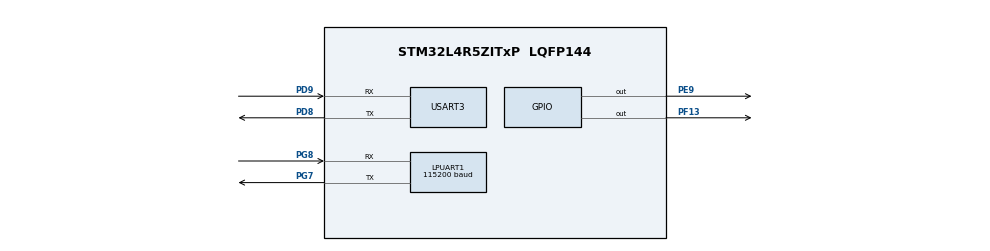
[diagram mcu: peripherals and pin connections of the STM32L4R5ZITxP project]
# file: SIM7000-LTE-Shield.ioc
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LPUART1.BaudRate=115200
LPUART1.WordLength=UART_WORDLENGTH_8B
Mcu.Family=STM32L4
Mcu.Name=STM32L4R5ZITxP
Mcu.Package=LQFP144
NVIC.PriorityGroup=NVIC_PRIORITYGROUP_4
PA0.Signal=S_TIM2_CH1
PA1.Signal=ADCx_IN6
PA10.Signal=USB_OTG_FS_ID
PA13\ (JTMS/SWDIO).Signal=SYS_JTMS-SWDIO
PA14\ (JTCK/SWCLK).Signal=SYS_JTCK-SWCLK
PA3.Signal=ADCx_IN8
PA4.Signal=SPI1_NSS
PA5.Signal=SPI1_SCK
PA6.Signal=SPI1_MISO
PA7.Signal=SPI1_MOSI
PA8.Signal=USB_OTG_FS_SOF
PA9.Signal=USB_OTG_FS_VBUS
PB0.Signal=S_TIM3_CH3
PB1.Signal=ADCx_IN16
PB12.Signal=SAI2_FS_A
PB13.Signal=SAI2_SCK_A
PB14.Signal=S_TIM15_CH1
PB15.Signal=SAI2_SD_A
PB2.Signal=COMP1_INP
PB3\ (JTDO/TRACESWO).Signal=SPI3_SCK
PB4\ (NJTRST).Signal=SPI3_MISO
PB5.Signal=SPI3_MOSI
PB6.Signal=COMP2_INP
PB8.Signal=I2C1_SCL
PB9.Signal=I2C1_SDA
PC0.Signal=ADCx_IN1
PC1.Signal=ADCx_IN2
PC10.Signal=UART4_TX
PC11.Signal=UART4_RX
PC12.Signal=SDMMC1_CK
PC13.Signal=SYS_WKUP2
PC14-OSC32_IN\ (PC14).Signal=RCC_OSC32_IN
PC15-OSC32_OUT\ (PC15).Signal=RCC_OSC32_OUT
PC2.Signal=ADCx_IN3
PC3.Signal=ADCx_IN4
PC4.Signal=ADCx_IN13
PC6.Signal=SAI2_MCLK_A
PC7.Signal=S_TIM3_CH2
PC8.Signal=SDMMC1_D0
PC9.Signal=SDMMC1_D1
PD0.Signal=CAN1_RX
PD2.Signal=SDMMC1_CMD
PD3.Signal=USART2_CTS
PD4.Signal=USART2_RTS
PD5.Signal=USART2_TX
PD6.Signal=USART2_RX
PD8.Mode=Asynchronous
PD8.Signal=USART3_TX
PD9.Mode=Asynchronous
PD9.Signal=USART3_RX
PE0.Signal=S_TIM4_ETR
PE10.Signal=TIM1_CH2N
PE11.Signal=S_TIM1_CH2
PE12.Signal=TIM1_CH3N
PE13.Signal=S_TIM1_CH3
PE14.Signal=TIM1_BKIN2
PE15.Signal=TIM1_BKIN
PE2.Signal=SAI1_MCLK_A
PE3.Signal=SAI1_SD_B
PE7.Signal=S_TIM1_ETR
PE8.Signal=TIM1_CH1N
PE9.Signal=GPIO_Output
PF0.Signal=I2C2_SDA
PF1.Signal=I2C2_SCL
PF13.Signal=GPIO_Output
PF2.Signal=I2C2_SMBA
PF7.Signal=SAI1_MCLK_B
PG7.Mode=Asynchronous
PG7.Signal=LPUART1_TX
PG8.Mode=Asynchronous
PG8.Signal=LPUART1_RX
PH0-OSC_IN\ (PH0).Signal=RCC_OSC_IN
PH1-OSC_OUT\ (PH1).Signal=RCC_OSC_OUT
ProjectManager.HeapSize=0x200
ProjectManager.StackSize=0x400
ProjectManager.TargetToolchain=STM32CubeIDE
RCC.HSE_VALUE=8000000
RCC.HSI48_VALUE=48000000
RCC.HSI_VALUE=16000000
RCC.LSE_VALUE=32768
RCC.MSI_VALUE=4000000
RCC.VCOOutputFreq_Value=32000000
SH.ADCx_IN1.0=ADC1_IN1
SH.ADCx_IN13.0=ADC1_IN13
SH.ADCx_IN16.0=ADC1_IN16
SH.ADCx_IN2.0=ADC1_IN2
SH.ADCx_IN3.0=ADC1_IN3
SH.ADCx_IN4.0=ADC1_IN4
SH.ADCx_IN6.0=ADC1_IN6
SH.ADCx_IN8.0=ADC1_IN8
SH.S_TIM15_CH1.0=TIM15_CH1
SH.S_TIM1_CH2.0=TIM1_CH2
SH.S_TIM1_CH3.0=TIM1_CH3
SH.S_TIM1_ETR.0=TIM1_ETR
SH.S_TIM2_CH1.0=TIM2_CH1
SH.S_TIM3_CH2.0=TIM3_CH2
SH.S_TIM3_CH3.0=TIM3_CH3
SH.S_TIM4_ETR.0=TIM4_ETR
USART3.FIFOMode=FIFOMODE_ENABLE
USART3.OverrunDisableParam=ADVFEATURE_OVERRUN_DISABLE
USART3.RXFIFOThreshold=RXFIFO_THRESHOLD_7EIGHTHFULL
USART3.TXFIFOThreshold=TXFIFO_THRESHOLD_7EIGHTHFULL
USART3.VirtualMode-Asynchronous=VM_ASYNC
board=NUCLEO-L4R5ZI-P

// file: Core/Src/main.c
/* USER CODE BEGIN Header */
/**
  ******************************************************************************
  * @file           : main.c
  * @brief          : Main program body
  ******************************************************************************
  * @attention
  *
  * Copyright (c) 2022 STMicroelectronics.
  * All rights reserved.
  *
  * This software is licensed under terms that can be found in the LICENSE file
  * in the root directory of this software component.
  * If no LICENSE file comes with this software, it is provided AS-IS.
  *
  ******************************************************************************
  */
/* USER CODE END Header */
#include "main.h"

/* USER CODE BEGIN Includes */
#include "HAL_FONA.h"
#include <stdlib.h>
#include <stdio.h>

extern char const * const ok_reply_c;
extern const int reply_buff_size_c;
extern const int fona_def_timeout_ms_c;

extern const HAL_GPIO_t rst_pin; // PF13
extern const HAL_GPIO_t pwr_pin; // PE09

/* USER CODE END Includes */

UART_HandleTypeDef hlpuart1;
UART_HandleTypeDef huart3;

void SystemClock_Config(void);
static void MX_GPIO_Init(void);
static void MX_LPUART1_UART_Init(void);
static void MX_USART3_UART_Init(void);
/* USER CODE BEGIN PFP */

void power_on_cell(  );
void reset_cell( );

/* USER CODE END PFP */

/* USER CODE BEGIN 0 */

void power_on_cell( )
    {
    printf( "Powering On Cell\n\r" );
    GPIO_Write( &pwr_pin, GPIO_PIN_RESET );
	  HAL_Delay( 1100 ); // At least 1s
    GPIO_Write( &pwr_pin, GPIO_PIN_SET );
    } // end power_on( )

void reset_cell( )
    {
    printf( "Resetting Cell\n\r" );
    GPIO_Write( &rst_pin, GPIO_PIN_RESET );
    HAL_Delay( 100 ); // At least 1s
    GPIO_Write( &rst_pin, GPIO_PIN_SET );
    } // reset_cell( )

/* USER CODE END 0 */

int main(void)
{
  /* USER CODE BEGIN 1 */
  Cellular_module_t cell;

  /* USER CODE END 1 */

  /* MCU Configuration--------------------------------------------------------*/

  /* Reset of all peripherals, Initializes the Flash interface and the Systick. */
  HAL_Init();

  /* USER CODE BEGIN Init */
  printf( "FONA basic test\n\r" );
  printf( "Initializing....(May take several seconds)\n\r");

  cell.uart_ptr = &huart3;

  /* USER CODE END Init */

  /* Configure the system clock */
  SystemClock_Config();

  /* Initialize all configured peripherals */
  MX_GPIO_Init();
  MX_LPUART1_UART_Init();
  MX_USART3_UART_Init();
  /* USER CODE BEGIN 2 */

  power_on_cell( );
  reset_cell( );
  if ( !begin( &cell ) )
    {
    printf( "Failed initialization\n\r" );
    return 1;
    }
  else
    {
    printf( "Found SIM7000 using hardware serial\n\r" );
    }

  if ( !setNetworkSettings( &cell ) )
      {
      printf( "Network settings NOT set\n\r" );
      return 1;
      }
    else
      {
      printf( "Network settings set\n\r" );
      }

  if ( !sendSMS( &cell ) )
        {
        printf( "SMS failed\n\r" );
        return 1;
      }
      else
        {
        printf( "SMS Worked\n\r" );
        }

  /* USER CODE END 2 */

  /* Infinite loop */
  while (1)
    {
    printf( "Looping weehee\n\r" );
    HAL_Delay( 1000 );
    /* USER CODE BEGIN 3 */
    } // end while
  /* USER CODE END 3 */
}

void SystemClock_Config(void)
{
  RCC_OscInitTypeDef RCC_OscInitStruct = {0};
  RCC_ClkInitTypeDef RCC_ClkInitStruct = {0};

  /** Configure the main internal regulator output voltage
  */
  if (HAL_PWREx_ControlVoltageScaling(PWR_REGULATOR_VOLTAGE_SCALE1) != HAL_OK)
  {
    Error_Handler();
  }
  /** Initializes the RCC Oscillators according to the specified parameters
  * in the RCC_OscInitTypeDef structure.
  */
  RCC_OscInitStruct.OscillatorType = RCC_OSCILLATORTYPE_MSI;
  RCC_OscInitStruct.MSIState = RCC_MSI_ON;
  RCC_OscInitStruct.MSICalibrationValue = 0;
  RCC_OscInitStruct.MSIClockRange = RCC_MSIRANGE_6;
  RCC_OscInitStruct.PLL.PLLState = RCC_PLL_NONE;
  if (HAL_RCC_OscConfig(&RCC_OscInitStruct) != HAL_OK)
  {
    Error_Handler();
  }
  /** Initializes the CPU, AHB and APB buses clocks
  */
  RCC_ClkInitStruct.ClockType = RCC_CLOCKTYPE_HCLK|RCC_CLOCKTYPE_SYSCLK
                              |RCC_CLOCKTYPE_PCLK1|RCC_CLOCKTYPE_PCLK2;
  RCC_ClkInitStruct.SYSCLKSource = RCC_SYSCLKSOURCE_MSI;
  RCC_ClkInitStruct.AHBCLKDivider = RCC_SYSCLK_DIV1;
  RCC_ClkInitStruct.APB1CLKDivider = RCC_HCLK_DIV1;
  RCC_ClkInitStruct.APB2CLKDivider = RCC_HCLK_DIV1;

  if (HAL_RCC_ClockConfig(&RCC_ClkInitStruct, FLASH_LATENCY_0) != HAL_OK)
  {
    Error_Handler();
  }
}

static void MX_LPUART1_UART_Init(void)
{

  hlpuart1.Instance = LPUART1;
  hlpuart1.Init.BaudRate = 115200;
  hlpuart1.Init.WordLength = UART_WORDLENGTH_8B;
  hlpuart1.Init.StopBits = UART_STOPBITS_1;
  hlpuart1.Init.Parity = UART_PARITY_NONE;
  hlpuart1.Init.Mode = UART_MODE_TX_RX;
  hlpuart1.Init.HwFlowCtl = UART_HWCONTROL_NONE;
  hlpuart1.Init.OneBitSampling = UART_ONE_BIT_SAMPLE_DISABLE;
  hlpuart1.Init.ClockPrescaler = UART_PRESCALER_DIV1;
  hlpuart1.AdvancedInit.AdvFeatureInit = UART_ADVFEATURE_NO_INIT;
  hlpuart1.FifoMode = UART_FIFOMODE_DISABLE;
  if (HAL_UART_Init(&hlpuart1) != HAL_OK)
  {
    Error_Handler();
  }
  if (HAL_UARTEx_SetTxFifoThreshold(&hlpuart1, UART_TXFIFO_THRESHOLD_1_8) != HAL_OK)
  {
    Error_Handler();
  }
  if (HAL_UARTEx_SetRxFifoThreshold(&hlpuart1, UART_RXFIFO_THRESHOLD_1_8) != HAL_OK)
  {
    Error_Handler();
  }
  if (HAL_UARTEx_DisableFifoMode(&hlpuart1) != HAL_OK)
  {
    Error_Handler();
  }

}

static void MX_USART3_UART_Init(void)
{

  huart3.Instance = USART3;
  huart3.Init.BaudRate = 115200;
  huart3.Init.WordLength = UART_WORDLENGTH_8B;
  huart3.Init.StopBits = UART_STOPBITS_1;
  huart3.Init.Parity = UART_PARITY_NONE;
  huart3.Init.Mode = UART_MODE_TX_RX;
  huart3.Init.HwFlowCtl = UART_HWCONTROL_NONE;
  huart3.Init.OverSampling = UART_OVERSAMPLING_16;
  huart3.Init.OneBitSampling = UART_ONE_BIT_SAMPLE_DISABLE;
  huart3.Init.ClockPrescaler = UART_PRESCALER_DIV1;
  huart3.AdvancedInit.AdvFeatureInit = UART_ADVFEATURE_RXOVERRUNDISABLE_INIT;
  huart3.AdvancedInit.OverrunDisable = UART_ADVFEATURE_OVERRUN_DISABLE;
  if (HAL_UART_Init(&huart3) != HAL_OK)
  {
    Error_Handler();
  }
  if (HAL_UARTEx_SetTxFifoThreshold(&huart3, UART_TXFIFO_THRESHOLD_7_8) != HAL_OK)
  {
    Error_Handler();
  }
  if (HAL_UARTEx_SetRxFifoThreshold(&huart3, UART_RXFIFO_THRESHOLD_7_8) != HAL_OK)
  {
    Error_Handler();
  }
  if (HAL_UARTEx_EnableFifoMode(&huart3) != HAL_OK)
  {
    Error_Handler();
  }

}

static void MX_GPIO_Init(void)
{
  GPIO_InitTypeDef GPIO_InitStruct = {0};

  /* GPIO Ports Clock Enable */
  __HAL_RCC_GPIOE_CLK_ENABLE();
  __HAL_RCC_GPIOC_CLK_ENABLE();
  __HAL_RCC_GPIOF_CLK_ENABLE();
  __HAL_RCC_GPIOH_CLK_ENABLE();
  __HAL_RCC_GPIOA_CLK_ENABLE();
  __HAL_RCC_GPIOB_CLK_ENABLE();
  __HAL_RCC_GPIOD_CLK_ENABLE();
  __HAL_RCC_GPIOG_CLK_ENABLE();
  HAL_PWREx_EnableVddIO2();

  /*Configure GPIO pin Output Level */
  HAL_GPIO_WritePin(GPIOF, GPIO_PIN_13, GPIO_PIN_RESET);

  /*Configure GPIO pin Output Level */
  HAL_GPIO_WritePin(GPIOE, GPIO_PIN_9, GPIO_PIN_RESET);

  /*Configure GPIO pins : PE2 PE3 */
  GPIO_InitStruct.Pin = GPIO_PIN_2|GPIO_PIN_3;
  GPIO_InitStruct.Mode = GPIO_MODE_AF_PP;
  GPIO_InitStruct.Pull = GPIO_NOPULL;
  GPIO_InitStruct.Speed = GPIO_SPEED_FREQ_LOW;
  GPIO_InitStruct.Alternate = GPIO_AF13_SAI1;
  HAL_GPIO_Init(GPIOE, &GPIO_InitStruct);

  /*Configure GPIO pins : PF0 PF1 PF2 */
  GPIO_InitStruct.Pin = GPIO_PIN_0|GPIO_PIN_1|GPIO_PIN_2;
  GPIO_InitStruct.Mode = GPIO_MODE_AF_OD;
  GPIO_InitStruct.Pull = GPIO_NOPULL;
  GPIO_InitStruct.Speed = GPIO_SPEED_FREQ_VERY_HIGH;
  GPIO_InitStruct.Alternate = GPIO_AF4_I2C2;
  HAL_GPIO_Init(GPIOF, &GPIO_InitStruct);

  /*Configure GPIO pin : PF7 */
  GPIO_InitStruct.Pin = GPIO_PIN_7;
  GPIO_InitStruct.Mode = GPIO_MODE_AF_PP;
  GPIO_InitStruct.Pull = GPIO_NOPULL;
  GPIO_InitStruct.Speed = GPIO_SPEED_FREQ_LOW;
  GPIO_InitStruct.Alternate = GPIO_AF13_SAI1;
  HAL_GPIO_Init(GPIOF, &GPIO_InitStruct);

  /*Configure GPIO pins : PC0 PC1 PC2 PC3
                           PC4 */
  GPIO_InitStruct.Pin = GPIO_PIN_0|GPIO_PIN_1|GPIO_PIN_2|GPIO_PIN_3
                          |GPIO_PIN_4;
  GPIO_InitStruct.Mode = GPIO_MODE_ANALOG_ADC_CONTROL;
  GPIO_InitStruct.Pull = GPIO_NOPULL;
  HAL_GPIO_Init(GPIOC, &GPIO_InitStruct);

  /*Configure GPIO pin : PA0 */
  GPIO_InitStruct.Pin = GPIO_PIN_0;
  GPIO_InitStruct.Mode = GPIO_MODE_AF_PP;
  GPIO_InitStruct.Pull = GPIO_NOPULL;
  GPIO_InitStruct.Speed = GPIO_SPEED_FREQ_LOW;
  GPIO_InitStruct.Alternate = GPIO_AF1_TIM2;
  HAL_GPIO_Init(GPIOA, &GPIO_InitStruct);

  /*Configure GPIO pins : PA1 PA3 */
  GPIO_InitStruct.Pin = GPIO_PIN_1|GPIO_PIN_3;
  GPIO_InitStruct.Mode = GPIO_MODE_ANALOG_ADC_CONTROL;
  GPIO_InitStruct.Pull = GPIO_NOPULL;
  HAL_GPIO_Init(GPIOA, &GPIO_InitStruct);

  /*Configure GPIO pins : PA4 PA5 PA6 PA7 */
  GPIO_InitStruct.Pin = GPIO_PIN_4|GPIO_PIN_5|GPIO_PIN_6|GPIO_PIN_7;
  GPIO_InitStruct.Mode = GPIO_MODE_AF_PP;
  GPIO_InitStruct.Pull = GPIO_NOPULL;
  GPIO_InitStruct.Speed = GPIO_SPEED_FREQ_VERY_HIGH;
  GPIO_InitStruct.Alternate = GPIO_AF5_SPI1;
  HAL_GPIO_Init(GPIOA, &GPIO_InitStruct);

  /*Configure GPIO pin : PB0 */
  GPIO_InitStruct.Pin = GPIO_PIN_0;
  GPIO_InitStruct.Mode = GPIO_MODE_AF_PP;
  GPIO_InitStruct.Pull = GPIO_NOPULL;
  GPIO_InitStruct.Speed = GPIO_SPEED_FREQ_LOW;
  GPIO_InitStruct.Alternate = GPIO_AF2_TIM3;
  HAL_GPIO_Init(GPIOB, &GPIO_InitStruct);

  /*Configure GPIO pin : PB1 */
  GPIO_InitStruct.Pin = GPIO_PIN_1;
  GPIO_InitStruct.Mode = GPIO_MODE_ANALOG_ADC_CONTROL;
  GPIO_InitStruct.Pull = GPIO_NOPULL;
  HAL_GPIO_Init(GPIOB, &GPIO_InitStruct);

  /*Configure GPIO pins : PB2 PB6 */
  GPIO_InitStruct.Pin = GPIO_PIN_2|GPIO_PIN_6;
  GPIO_InitStruct.Mode = GPIO_MODE_ANALOG;
  GPIO_InitStruct.Pull = GPIO_NOPULL;
  HAL_GPIO_Init(GPIOB, &GPIO_InitStruct);

  /*Configure GPIO pin : PF13 */
  GPIO_InitStruct.Pin = GPIO_PIN_13;
  GPIO_InitStruct.Mode = GPIO_MODE_OUTPUT_PP;
  GPIO_InitStruct.Pull = GPIO_NOPULL;
  GPIO_InitStruct.Speed = GPIO_SPEED_FREQ_LOW;
  HAL_GPIO_Init(GPIOF, &GPIO_InitStruct);

  /*Configure GPIO pins : PE7 PE8 PE10 PE11
                           PE12 PE13 */
  GPIO_InitStruct.Pin = GPIO_PIN_7|GPIO_PIN_8|GPIO_PIN_10|GPIO_PIN_11
                          |GPIO_PIN_12|GPIO_PIN_13;
  GPIO_InitStruct.Mode = GPIO_MODE_AF_PP;
  GPIO_InitStruct.Pull = GPIO_NOPULL;
  GPIO_InitStruct.Speed = GPIO_SPEED_FREQ_LOW;
  GPIO_InitStruct.Alternate = GPIO_AF1_TIM1;
  HAL_GPIO_Init(GPIOE, &GPIO_InitStruct);

  /*Configure GPIO pin : PE9 */
  GPIO_InitStruct.Pin = GPIO_PIN_9;
  GPIO_InitStruct.Mode = GPIO_MODE_OUTPUT_PP;
  GPIO_InitStruct.Pull = GPIO_NOPULL;
  GPIO_InitStruct.Speed = GPIO_SPEED_FREQ_LOW;
  HAL_GPIO_Init(GPIOE, &GPIO_InitStruct);

  /*Configure GPIO pins : PE14 PE15 */
  GPIO_InitStruct.Pin = GPIO_PIN_14|GPIO_PIN_15;
  GPIO_InitStruct.Mode = GPIO_MODE_AF_PP;
  GPIO_InitStruct.Pull = GPIO_NOPULL;
  GPIO_InitStruct.Speed = GPIO_SPEED_FREQ_LOW;
  GPIO_InitStruct.Alternate = GPIO_AF3_TIM1_COMP1;
  HAL_GPIO_Init(GPIOE, &GPIO_InitStruct);

  /*Configure GPIO pins : PB12 PB13 PB15 */
  GPIO_InitStruct.Pin = GPIO_PIN_12|GPIO_PIN_13|GPIO_PIN_15;
  GPIO_InitStruct.Mode = GPIO_MODE_AF_PP;
  GPIO_InitStruct.Pull = GPIO_NOPULL;
  GPIO_InitStruct.Speed = GPIO_SPEED_FREQ_LOW;
  GPIO_InitStruct.Alternate = GPIO_AF13_SAI2;
  HAL_GPIO_Init(GPIOB, &GPIO_InitStruct);

  /*Configure GPIO pin : PB14 */
  GPIO_InitStruct.Pin = GPIO_PIN_14;
  GPIO_InitStruct.Mode = GPIO_MODE_AF_PP;
  GPIO_InitStruct.Pull = GPIO_NOPULL;
  GPIO_InitStruct.Speed = GPIO_SPEED_FREQ_LOW;
  GPIO_InitStruct.Alternate = GPIO_AF14_TIM15;
  HAL_GPIO_Init(GPIOB, &GPIO_InitStruct);

  /*Configure GPIO pin : PC6 */
  GPIO_InitStruct.Pin = GPIO_PIN_6;
  GPIO_InitStruct.Mode = GPIO_MODE_AF_PP;
  GPIO_InitStruct.Pull = GPIO_NOPULL;
  GPIO_InitStruct.Speed = GPIO_SPEED_FREQ_LOW;
  GPIO_InitStruct.Alternate = GPIO_AF13_SAI2;
  HAL_GPIO_Init(GPIOC, &GPIO_InitStruct);

  /*Configure GPIO pin : PC7 */
  GPIO_InitStruct.Pin = GPIO_PIN_7;
  GPIO_InitStruct.Mode = GPIO_MODE_AF_PP;
  GPIO_InitStruct.Pull = GPIO_NOPULL;
  GPIO_InitStruct.Speed = GPIO_SPEED_FREQ_LOW;
  GPIO_InitStruct.Alternate = GPIO_AF2_TIM3;
  HAL_GPIO_Init(GPIOC, &GPIO_InitStruct);

  /*Configure GPIO pins : PC8 PC9 PC12 */
  GPIO_InitStruct.Pin = GPIO_PIN_8|GPIO_PIN_9|GPIO_PIN_12;
  GPIO_InitStruct.Mode = GPIO_MODE_AF_PP;
  GPIO_InitStruct.Pull = GPIO_NOPULL;
  GPIO_InitStruct.Speed = GPIO_SPEED_FREQ_VERY_HIGH;
  GPIO_InitStruct.Alternate = GPIO_AF12_SDMMC1;
  HAL_GPIO_Init(GPIOC, &GPIO_InitStruct);

  /*Configure GPIO pins : PA8 PA10 */
  GPIO_InitStruct.Pin = GPIO_PIN_8|GPIO_PIN_10;
  GPIO_InitStruct.Mode = GPIO_MODE_AF_PP;
  GPIO_InitStruct.Pull = GPIO_NOPULL;
  GPIO_InitStruct.Speed = GPIO_SPEED_FREQ_VERY_HIGH;
  GPIO_InitStruct.Alternate = GPIO_AF10_OTG_FS;
  HAL_GPIO_Init(GPIOA, &GPIO_InitStruct);

  /*Configure GPIO pin : PA9 */
  GPIO_InitStruct.Pin = GPIO_PIN_9;
  GPIO_InitStruct.Mode = GPIO_MODE_INPUT;
  GPIO_InitStruct.Pull = GPIO_NOPULL;
  HAL_GPIO_Init(GPIOA, &GPIO_InitStruct);

  /*Configure GPIO pins : PC10 PC11 */
  GPIO_InitStruct.Pin = GPIO_PIN_10|GPIO_PIN_11;
  GPIO_InitStruct.Mode = GPIO_MODE_AF_PP;
  GPIO_InitStruct.Pull = GPIO_NOPULL;
  GPIO_InitStruct.Speed = GPIO_SPEED_FREQ_VERY_HIGH;
  GPIO_InitStruct.Alternate = GPIO_AF8_UART4;
  HAL_GPIO_Init(GPIOC, &GPIO_InitStruct);

  /*Configure GPIO pin : PD0 */
  GPIO_InitStruct.Pin = GPIO_PIN_0;
  GPIO_InitStruct.Mode = GPIO_MODE_AF_PP;
  GPIO_InitStruct.Pull = GPIO_NOPULL;
  GPIO_InitStruct.Speed = GPIO_SPEED_FREQ_VERY_HIGH;
  GPIO_InitStruct.Alternate = GPIO_AF9_CAN1;
  HAL_GPIO_Init(GPIOD, &GPIO_InitStruct);

  /*Configure GPIO pin : PD2 */
  GPIO_InitStruct.Pin = GPIO_PIN_2;
  GPIO_InitStruct.Mode = GPIO_MODE_AF_PP;
  GPIO_InitStruct.Pull = GPIO_NOPULL;
  GPIO_InitStruct.Speed = GPIO_SPEED_FREQ_VERY_HIGH;
  GPIO_InitStruct.Alternate = GPIO_AF12_SDMMC1;
  HAL_GPIO_Init(GPIOD, &GPIO_InitStruct);

  /*Configure GPIO pins : PD3 PD4 PD5 PD6 */
  GPIO_InitStruct.Pin = GPIO_PIN_3|GPIO_PIN_4|GPIO_PIN_5|GPIO_PIN_6;
  GPIO_InitStruct.Mode = GPIO_MODE_AF_PP;
  GPIO_InitStruct.Pull = GPIO_NOPULL;
  GPIO_InitStruct.Speed = GPIO_SPEED_FREQ_VERY_HIGH;
  GPIO_InitStruct.Alternate = GPIO_AF7_USART2;
  HAL_GPIO_Init(GPIOD, &GPIO_InitStruct);

  /*Configure GPIO pins : PB3 PB4 PB5 */
  GPIO_InitStruct.Pin = GPIO_PIN_3|GPIO_PIN_4|GPIO_PIN_5;
  GPIO_InitStruct.Mode = GPIO_MODE_AF_PP;
  GPIO_InitStruct.Pull = GPIO_NOPULL;
  GPIO_InitStruct.Speed = GPIO_SPEED_FREQ_VERY_HIGH;
  GPIO_InitStruct.Alternate = GPIO_AF6_SPI3;
  HAL_GPIO_Init(GPIOB, &GPIO_InitStruct);

  /*Configure GPIO pins : PB8 PB9 */
  GPIO_InitStruct.Pin = GPIO_PIN_8|GPIO_PIN_9;
  GPIO_InitStruct.Mode = GPIO_MODE_AF_OD;
  GPIO_InitStruct.Pull = GPIO_NOPULL;
  GPIO_InitStruct.Speed = GPIO_SPEED_FREQ_VERY_HIGH;
  GPIO_InitStruct.Alternate = GPIO_AF4_I2C1;
  HAL_GPIO_Init(GPIOB, &GPIO_InitStruct);

  /*Configure GPIO pin : PE0 */
  GPIO_InitStruct.Pin = GPIO_PIN_0;
  GPIO_InitStruct.Mode = GPIO_MODE_AF_PP;
  GPIO_InitStruct.Pull = GPIO_NOPULL;
  GPIO_InitStruct.Speed = GPIO_SPEED_FREQ_LOW;
  GPIO_InitStruct.Alternate = GPIO_AF2_TIM4;
  HAL_GPIO_Init(GPIOE, &GPIO_InitStruct);

}

/* USER CODE BEGIN 4 */
#ifdef __GNUC__
#define PUTCHAR_PROTOTYPE int __io_putchar(int ch)
#else
#define PUTCHAR_PROTOTYPE int fputc(int ch, FILE *f)
#endif /* __GNUC__ */
PUTCHAR_PROTOTYPE
{
	HAL_UART_Transmit(&hlpuart1, (uint8_t *)&ch, 1, 0xFFFF);
	return ch;
}
/* USER CODE END 4 */

void Error_Handler(void)
{
  __disable_irq();
  while (1)
  {
  }
}
